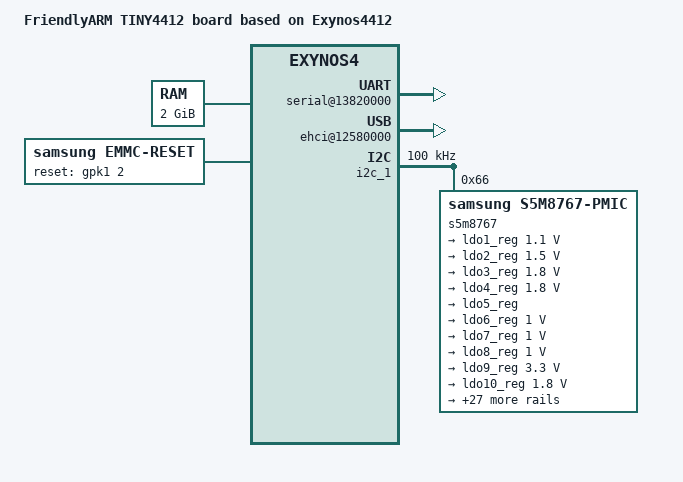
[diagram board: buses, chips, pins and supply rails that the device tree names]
/*
 *			2017
 * 	Modified by AP0904225 <ap0904225@qq.com>  on the basis of odroid board
 *
 * Configuration settings for the FriendlyARM TINY4412 (EXYNOS4412) board.
 *     FriendlyARM Tiny4412 SDK board hardware version:
 *           core board   :  Tiny4412-1412
 *           bottom board :  Tiny4412/Super4412SDK 1506
 *
 * SPDX-License-Identifier:	GPL-2.0+
 */

/dts-v1/;
#include "exynos4412.dtsi"

/ {
	model = "FriendlyARM TINY4412 board based on Exynos4412";
	compatible = "friendlyarm,tiny4412", "samsung,exynos4412", "samsung,exynos4";

	aliases {
		i2c0 = "/i2c@13860000";
		i2c1 = "/i2c@13870000";
		i2c2 = "/i2c@13880000";
		i2c3 = "/i2c@13890000";
		i2c4 = "/i2c@138a0000";
		i2c5 = "/i2c@138b0000";
		i2c6 = "/i2c@138c0000";
		i2c7 = "/i2c@138d0000";
		serial0 = "/serial@13820000";
		console = "/serial@13820000";
		mmc2 = "/sdhci@12530000";
		mmc4 = "/dwmmc@12550000";
	};
	chosen {
       stdout-path = "serial2";
    };

    memory {
		reg = <0x40000000 0x80000000>;
    };

	serial@13820000 {
		compatible = "samsung,exynos4210-uart";
		reg = <0x13820000 0x3c>;
		id = <0x0>;
		status = "okay";
	};

	sdhci@12510000 {
		status = "disabled";
	};

	sdhci@12520000 {
		status = "disabled";
	};

	sdhci@12530000 {
		samsung,bus-width = <4>;
		samsung,timing = <1 2 3>;
		cd-gpios = <&gpk2 2 0>;
	};

	sdhci@12540000 {
		status = "disabled";
	};

	dwmmc@12550000 {
		samsung,bus-width = <8>;
		samsung,timing = <2 1 0>;
		samsung,removable = <0>;
		fifoth_val = <0x203f0040>;
		bus_hz = <400000000>;
		div = <0x3>;
		index = <4>;
	};

	ehci@12580000 {
		compatible = "samsung,exynos-ehci";
		reg = <0x12580000 0x100>;
		#address-cells = <1>;
		#size-cells = <1>;
		phy {
			compatible = "samsung,exynos-usb-phy";
			reg = <0x125B0000 0x100>;
		};
	};

	emmc-reset {
		compatible = "samsung,emmc-reset";
		reset-gpio = <&gpk1 2 0>;
	};
};

&i2c_1{
	clock-frequency = <100000>;
	status = "okay";

	s5m8767: s5m8767-pmic@66 {
		compatible = "samsung,s5m8767-pmic";
		reg = <0x66 0 0>;
		
		regulators {
			ldo1_reg: LDO1 {
				regulator-name = "VDD_ALIVE";
				regulator-min-microvolt = <1100000>;
				regulator-max-microvolt = <1100000>;
				regulator-always-on;
				regulator-boot-on;
			};

			/* SCP uses 1.5v, POP uses 1.2v */
			ldo2_reg: LDO2 {
				regulator-name = "VDDQ_M12";
				regulator-min-microvolt = <1500000>;
				regulator-max-microvolt = <1500000>;
				regulator-always-on;
				regulator-boot-on;
			};

			ldo3_reg: LDO3 {
				regulator-name = "VDDIOAP_18";
				regulator-min-microvolt = <1800000>;
				regulator-max-microvolt = <1800000>;
				regulator-always-on;
			};

			ldo4_reg: LDO4 {
				regulator-name = "VDDQ_PRE";
				regulator-min-microvolt = <1800000>;
				regulator-max-microvolt = <1800000>;
				regulator-always-on;
			};

			ldo5_reg: LDO5 {
				regulator-name = "VDD_LDO5";
			};

			ldo6_reg: LDO6 {
				regulator-name = "VDD10_MPLL";
				regulator-min-microvolt = <1000000>;
				regulator-max-microvolt = <1000000>;
				regulator-always-on;
			};

			ldo7_reg: LDO7 {
				regulator-name = "VDD10_XPLL";
				regulator-min-microvolt = <1000000>;
				regulator-max-microvolt = <1000000>;
				regulator-always-on;
			};

			ldo8_reg: LDO8 {
				regulator-name = "VDD10_MIPI";
				regulator-min-microvolt = <1000000>;
				regulator-max-microvolt = <1000000>;
			};

			ldo9_reg: LDO9 {
				regulator-name = "VDD33_LCD";
				regulator-min-microvolt = <3300000>;
				regulator-max-microvolt = <3300000>;
			};

			ldo10_reg: LDO10 {
				regulator-name = "VDD18_MIPI";
				regulator-min-microvolt = <1800000>;
				regulator-max-microvolt = <1800000>;
			};

			ldo11_reg: LDO11 {
				regulator-name = "VDD18_ABB1";
				regulator-min-microvolt = <1800000>;
				regulator-max-microvolt = <1800000>;
				regulator-always-on;
			};

			ldo12_reg: LDO12 {
				regulator-name = "VDD33_UOTG";
				regulator-min-microvolt = <3300000>;
				regulator-max-microvolt = <3300000>;
				regulator-always-on;
			};

			ldo13_reg: LDO13 {
				regulator-name = "VDDIOPERI_18";
				regulator-min-microvolt = <1800000>;
				regulator-max-microvolt = <1800000>;
				regulator-always-on;
			};

			ldo14_reg: LDO14 {
				regulator-name = "VDD18_ABB02";
				regulator-min-microvolt = <1800000>;
				regulator-max-microvolt = <1800000>;
				regulator-always-on;
			};

			ldo15_reg: LDO15 {
				regulator-name = "VDD10_USH";
				regulator-min-microvolt = <1000000>;
				regulator-max-microvolt = <1000000>;
				regulator-always-on;
			};

			ldo16_reg: LDO16 {
				regulator-name = "VDD18_HSIC";
				regulator-min-microvolt = <1800000>;
				regulator-max-microvolt = <1800000>;
				regulator-always-on;
			};

			ldo17_reg: LDO17 {
				regulator-name = "VDDIOAP_MMC012_28";
				regulator-min-microvolt = <2800000>;
				regulator-max-microvolt = <2800000>;
			};

			/* Used by HSIC */
			ldo18_reg: LDO18 {
				regulator-name = "VDDIOPERI_28";
				regulator-min-microvolt = <3300000>;
				regulator-max-microvolt = <3300000>;
				regulator-always-on;
			};

			ldo19_reg: LDO19 {
				regulator-name = "VDD_LDO19";
			};

			ldo20_reg: LDO20 {
				regulator-name = "VDD28_CAM";
				regulator-min-microvolt = <1800000>;
				regulator-max-microvolt = <2800000>;
			};

			ldo21_reg: LDO21 {
				regulator-name = "VDD28_AF";
				regulator-min-microvolt = <1800000>;
				regulator-max-microvolt = <2800000>;
			};

			ldo22_reg: LDO22 {
				regulator-name = "VDDA28_2M";
				regulator-min-microvolt = <2800000>;
				regulator-max-microvolt = <2800000>;
			};

			ldo23_reg: LDO23 {
				regulator-name = "VDD28_TF";
				regulator-min-microvolt = <2800000>;
				regulator-max-microvolt = <2800000>;
			};

			ldo24_reg: LDO24 {
				regulator-name = "VDD33_A31";
				regulator-min-microvolt = <3300000>;
				regulator-max-microvolt = <3300000>;
			};

			ldo25_reg: LDO25 {
				regulator-name = "VDD18_CAM";
				regulator-min-microvolt = <1800000>;
				regulator-max-microvolt = <1800000>;
			};

			ldo26_reg: LDO26 {
				regulator-name = "VDD18_A31";
				regulator-min-microvolt = <1800000>;
				regulator-max-microvolt = <1800000>;
			};

			ldo27_reg: LDO27 {
				regulator-name = "GPS_1V8";
				regulator-min-microvolt = <1800000>;
				regulator-max-microvolt = <1800000>;
			};

			ldo28_reg: LDO28 {
				regulator-name = "DVDD12";
				regulator-min-microvolt = <1200000>;
				regulator-max-microvolt = <1200000>;
			};

			buck1_reg: BUCK1 {
				regulator-name = "vdd_mif";
				regulator-min-microvolt = <850000>;
				regulator-max-microvolt	= <1100000>;
				regulator-always-on;
				regulator-boot-on;
			};

			buck2_reg: BUCK2 {
				regulator-name = "vdd_arm";
				regulator-min-microvolt = <850000>;
				regulator-max-microvolt	= <1456250>;
				regulator-always-on;
				regulator-boot-on;
			};

			buck3_reg: BUCK3 {
				regulator-name = "vdd_int";
				regulator-min-microvolt = <875000>;
				regulator-max-microvolt	= <1200000>;
				regulator-always-on;
				regulator-boot-on;
			};

			buck4_reg: BUCK4 {
				regulator-name = "vdd_g3d";
				regulator-min-microvolt = <750000>;
				regulator-max-microvolt	= <1500000>;
				regulator-always-on;
				regulator-boot-on;
			};

			buck5_reg: BUCK5 {
				regulator-name = "vdd_m12";
				regulator-min-microvolt = <750000>;
				regulator-max-microvolt	= <1500000>;
				regulator-always-on;
				regulator-boot-on;
			};

			buck6_reg: BUCK6 {
				regulator-name = "vdd12_5m";
				regulator-min-microvolt = <750000>;
				regulator-max-microvolt	= <1500000>;
				regulator-always-on;
				regulator-boot-on;
			};

			buck7_reg: BUCK7 {
				regulator-name = "pvdd_buck7";
				regulator-min-microvolt = <750000>;
				regulator-max-microvolt	= <2000000>;
				regulator-boot-on;
				regulator-always-on;
			};

			buck8_reg: BUCK8 {
				regulator-name = "pvdd_buck8";
				regulator-min-microvolt = <750000>;
				regulator-max-microvolt	= <1500000>;
				regulator-boot-on;
				regulator-always-on;
			};

			buck9_reg: BUCK9 {
				regulator-name = "vddf28_emmc";
				regulator-min-microvolt = <750000>;
				regulator-max-microvolt	= <3000000>;
			};
		};

		s5m8767_osc: clocks {
			#clock-cells = <1>;
			clock-output-names = "s5m8767_ap",
					"s5m8767_cp", "s5m8767_bt";
		};

	};
};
